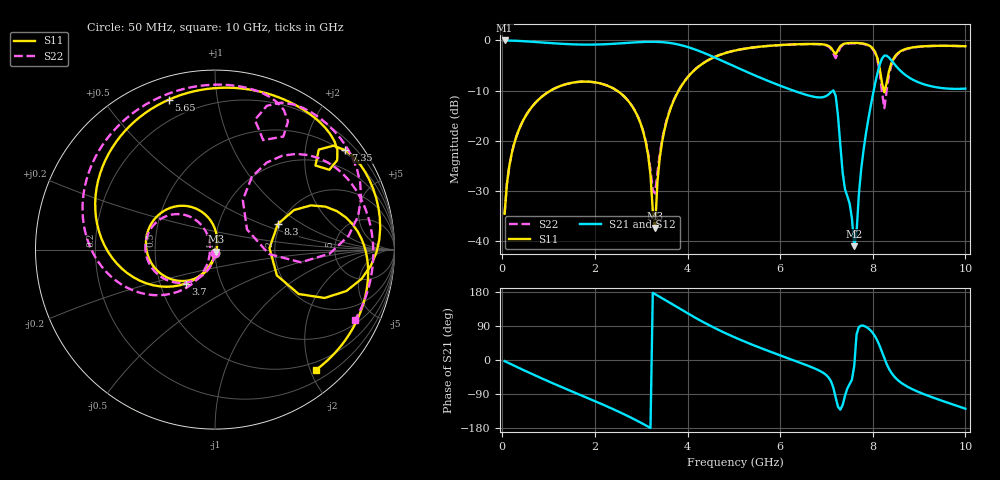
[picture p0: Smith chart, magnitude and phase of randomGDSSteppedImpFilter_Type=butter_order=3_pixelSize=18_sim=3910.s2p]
! freq	dB(S11)	phase(S11)	dB(S12)	phase(S12)
!  dB(S21)	phase(S21)	dB(S22)	phase(S22)
!S-par simulation data
#  GHz  S  DB  R 50
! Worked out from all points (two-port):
!   200 points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, 50 MHz to 10 GHz, reference 50 ohm
!   highest |S21| = -0.01 dB at 50 MHz (marker M1); lowest = -41.1 dB at 7.6 GHz (marker M2)
!   |S21| within 3 dB of the highest: start of sweep to 4.488 GHz
!   lowest |S11| = -37.4 dB at 3.3 GHz (marker M3), VSWR 1.03, Z = 50.8 - j1.11 ohm
!   |S11| at or under -10 dB: start of sweep to 1.047 GHz; 2.471 GHz to 3.809 GHz (1.338 GHz wide, 42.6 % of centre); 8.24024 GHz to 8.259287 GHz (19.05 MHz wide, 0.231 % of centre)
!   |S22| runs from -34.6 to -0.6 dB; largest |S21 - S12| = 0
!   S11 on the Smith chart (normalised r, x): 50 MHz: 1.00, -0.04; 3.7 GHz: 0.67, -0.27; 5.65 GHz: 0.10, +0.73; 7.35 GHz: 0.43, +2.90; 8.3 GHz: 1.94, +0.64; 10 GHz: 0.37, -2.10
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0.05  -34.61 -93.1  -0.01 -3.0  -0.01 -3.0  -34.61 -92.9
0.2  -22.72 -102.4  -0.04 -11.7  -0.04 -11.7  -22.71 -101.6
0.5  -15.15 -120.5  -0.17 -29.0  -0.17 -29.0  -15.15 -118.4
1.75  -8.22 170.1  -0.83 -95.6  -0.83 -95.6  -8.21 177.8
2.9  -14.69 102.2  -0.37 -159.6  -0.37 -159.6  -14.66 121.6
3.15  -22.97 81.4  -0.27 -175.9  -0.27 -175.9  -22.57 118.9
3.3  -37.42 -54.1  -0.27 173.8  -0.27 173.8  -30.56 -161.0
3.4  -23.43 -103.5  -0.31 166.7  -0.31 166.7  -22.68 -120.5
3.7  -12.05 -130.8  -0.63 145.0  -0.63 145.0  -11.95 -125.7
5.05  -1.97 138.1  -5.34 58.1  -5.34 58.1  -1.96 156.2
5.65  -1.17 107.2  -7.74 28.3  -7.74 28.3  -1.17 128.4
6.7  -0.70 58.0  -11.19 -20.0  -11.19 -20.0  -0.72 83.0
7.2  -2.74 39.9  -11.08 -99.8  -11.08 -99.8  -3.53 66.3
7.35  -0.79 37.3  -26.44 -118.6  -26.44 -118.6  -0.94 65.8
7.6  -0.50 20.9  -41.07 -15.5  -41.07 -15.5  -0.56 48.2
7.8  -0.65 7.4  -21.93 90.4  -21.93 90.4  -0.71 33.8
8.1  -3.51 -23.8  -6.56 51.0  -6.56 51.0  -3.88 -2.0
8.25  -10.35 1.6  -3.04 4.4  -3.04 4.4  -13.52 32.2
8.3  -8.46 22.1  -3.05 -10.6  -3.05 -10.6  -9.98 60.7
8.35  -6.16 26.6  -3.42 -23.2  -3.42 -23.2  -6.84 63.1
8.95  -1.28 -8.5  -8.22 -82.4  -8.22 -82.4  -1.32 20.2
10  -1.16 -49.9  -9.62 -128.5  -9.62 -128.5  -1.18 -26.6
